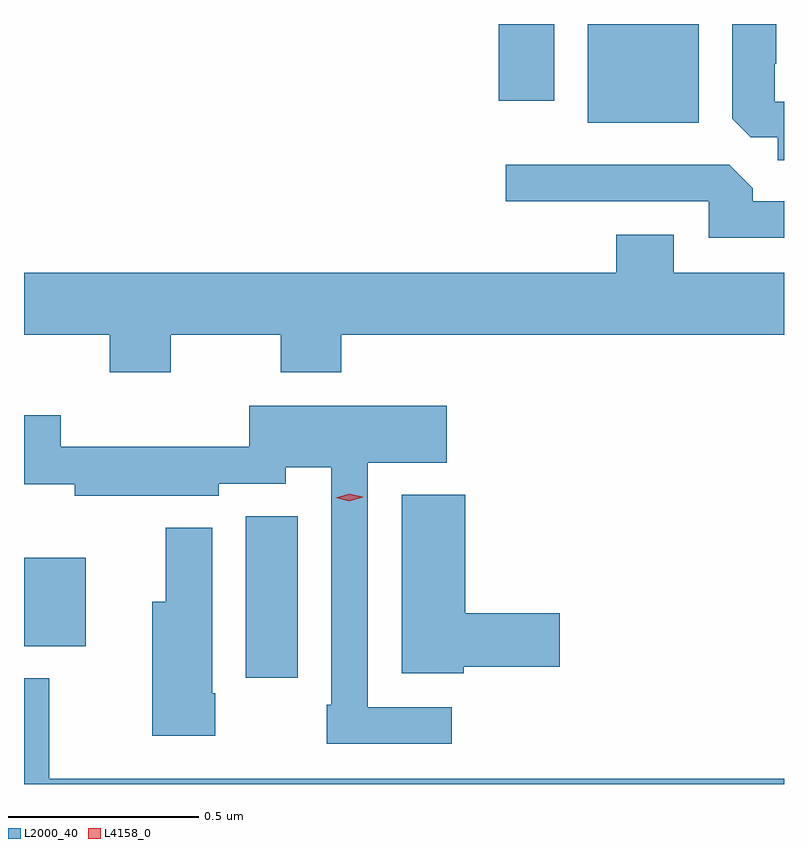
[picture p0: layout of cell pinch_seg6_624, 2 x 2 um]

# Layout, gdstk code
import gdstk
lib = gdstk.Library(unit=1e-6, precision=1e-09)
def R(c, l, rs):  # rectangles x0, y0, x1, y1
    for r in rs: c.add(gdstk.rectangle(r[:2], r[2:], *l))
def P(c, l, *ps):  # polygons
    for p in ps: c.add(gdstk.Polygon(p, *l))
L2000_40 = (2000, 40)
L4158_0 = (4158, 0)

pinch_seg6_624 = lib.new_cell('pinch_seg6_624')
R(pinch_seg6_624, L2000_40, [(388.46,991.722,388.597,992.147), (387.877,991.805,388.039,992.038), (389.36,993.182,389.653,993.442), (389.126,993.24,389.272,993.442)])
P(pinch_seg6_624, L2000_40, [(389.877,993.237),(389.853,993.237),(389.853,993.337),(389.857,993.337),(389.857,993.442),(389.741,993.442),(389.741,993.193),(389.79,993.144),(389.861,993.144),(389.861,993.083),(389.877,993.083)],
  [(389.877,992.976),(389.795,992.976),(389.795,993.01),(389.733,993.072),(389.145,993.072),(389.145,992.976),(389.679,992.976),(389.679,992.88),(389.877,992.88)],
  [(389.877,992.788),(389.587,992.788),(389.587,992.887),(389.435,992.887),(389.435,992.788),(387.877,992.788),(387.877,992.624),(388.103,992.624),(388.103,992.525),(388.263,992.525),(388.263,992.624),(388.552,992.624),(388.552,992.525),(388.712,992.525),(388.712,992.624),(389.877,992.624)],
  [(389.002,991.644),(388.782,991.644),(388.782,992.288),(388.99,992.288),(388.99,992.437),(388.47,992.437),(388.47,992.329),(387.974,992.329),(387.974,992.413),(387.877,992.413),(387.877,992.231),(388.01,992.231),(388.01,992.201),(388.39,992.201),(388.39,992.232),(388.566,992.232),(388.566,992.276),(388.686,992.276),(388.686,991.651),(388.674,991.651),(388.674,991.548),(389.002,991.548)],
  [(389.034,991.75),(389.287,991.75),(389.287,991.892),(389.038,991.892),(389.038,992.203),(388.871,992.203),(388.871,991.733),(389.034,991.733)],
  [(388.38,991.681),(388.372,991.681),(388.372,992.116),(388.25,992.116),(388.25,991.921),(388.214,991.921),(388.214,991.569),(388.38,991.569)],
  [(389.877,991.456),(387.944,991.456),(387.944,991.72),(387.877,991.72),(387.877,991.442),(389.877,991.442)])
P(pinch_seg6_624, L4158_0, [(388.733,992.186),(388.698,992.195),(388.698,992.195),(388.698,992.195),(388.733,992.206),(388.768,992.198),(388.768,992.197),(388.768,992.197)])

lib.write_gds('pinch_seg6_624.gds')
